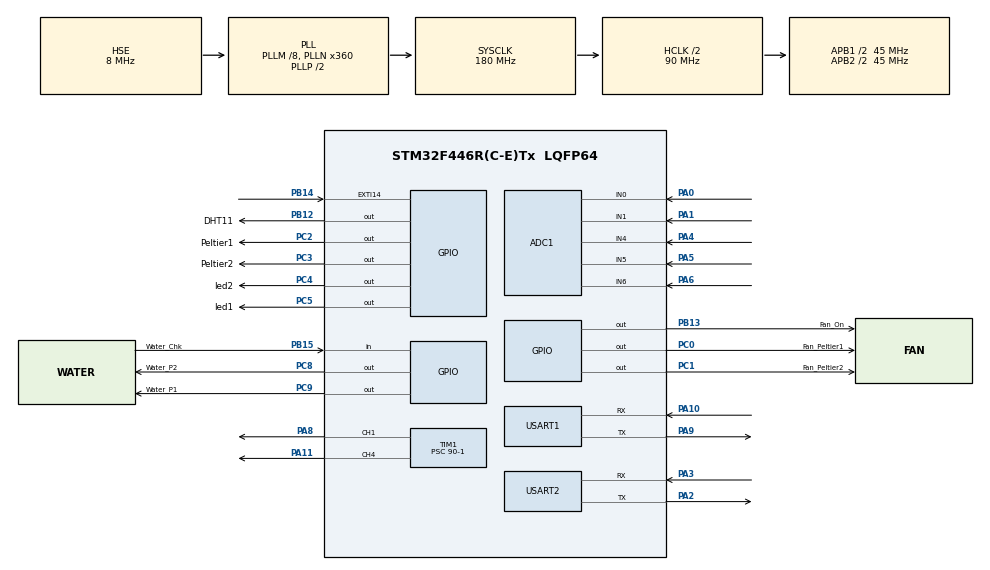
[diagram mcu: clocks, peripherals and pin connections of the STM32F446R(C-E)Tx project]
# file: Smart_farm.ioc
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ADC1.Channel-10\#ChannelRegularConversion=ADC_CHANNEL_0
ADC1.NbrOfConversion=1
ADC1.NbrOfConversionFlag=1
ADC1.Rank-10\#ChannelRegularConversion=1
ADC1.SamplingTime-10\#ChannelRegularConversion=ADC_SAMPLETIME_3CYCLES
ADC1.master=1
Mcu.Family=STM32F4
Mcu.Name=STM32F446R(C-E)Tx
Mcu.Package=LQFP64
NVIC.PriorityGroup=NVIC_PRIORITYGROUP_4
NVIC.TIM8_TRG_COM_TIM14_IRQn=true\:15\:0\:false\:false\:true\:false\:true\:true
NVIC.TimeBase=TIM8_TRG_COM_TIM14_IRQn
NVIC.TimeBaseIP=TIM14
PA0-WKUP.Signal=ADCx_IN0
PA1.Signal=ADCx_IN1
PA10.Mode=Asynchronous
PA10.Signal=USART1_RX
PA11.GPIO_Speed=GPIO_SPEED_FREQ_HIGH
PA11.Signal=S_TIM1_CH4
PA13.Mode=Serial_Wire
PA13.Signal=SYS_JTMS-SWDIO
PA14.Mode=Serial_Wire
PA14.Signal=SYS_JTCK-SWCLK
PA2.Mode=Asynchronous
PA2.Signal=USART2_TX
PA3.Mode=Asynchronous
PA3.Signal=USART2_RX
PA4.Signal=ADCx_IN4
PA5.Signal=ADCx_IN5
PA6.Signal=ADCx_IN6
PA8.GPIO_Speed=GPIO_SPEED_FREQ_HIGH
PA8.Signal=S_TIM1_CH1
PA9.Mode=Asynchronous
PA9.Signal=USART1_TX
PB12.GPIO_Label=DHT11
PB12.GPIO_Speed=GPIO_SPEED_FREQ_VERY_HIGH
PB12.Signal=GPIO_Output
PB13.GPIO_Label=Fan_On
PB13.GPIO_ModeDefaultOutputPP=GPIO_MODE_OUTPUT_PP
PB13.GPIO_Speed=GPIO_SPEED_FREQ_HIGH
PB13.Signal=GPIO_Output
PB14.Signal=GPXTI14
PB15.GPIO_Label=Water_Chk
PB15.Signal=GPIO_Input
PC0.GPIO_Label=Fan_Peltier1
PC0.Signal=GPIO_Output
PC1.GPIO_Label=Fan_Peltier2
PC1.Signal=GPIO_Output
PC14-OSC32_IN.Mode=LSE-External-Oscillator
PC14-OSC32_IN.Signal=RCC_OSC32_IN
PC15-OSC32_OUT.Mode=LSE-External-Oscillator
PC15-OSC32_OUT.Signal=RCC_OSC32_OUT
PC2.GPIO_Label=Peltier1
PC2.Signal=GPIO_Output
PC3.GPIO_Label=Peltier2
PC3.Signal=GPIO_Output
PC4.GPIO_Label=led2
PC4.GPIO_Speed=GPIO_SPEED_FREQ_HIGH
PC4.Signal=GPIO_Output
PC5.GPIO_Label=led1
PC5.GPIO_ModeDefaultOutputPP=GPIO_MODE_OUTPUT_PP
PC5.GPIO_Speed=GPIO_SPEED_FREQ_HIGH
PC5.PinState=GPIO_PIN_RESET
PC5.Signal=GPIO_Output
PC8.GPIO_Label=Water_P2
PC8.GPIO_Speed=GPIO_SPEED_FREQ_HIGH
PC8.Signal=GPIO_Output
PC9.GPIO_Label=Water_P1
PC9.GPIO_Speed=GPIO_SPEED_FREQ_HIGH
PC9.Signal=GPIO_Output
PH0-OSC_IN.Mode=HSE-External-Oscillator
PH0-OSC_IN.Signal=RCC_OSC_IN
PH1-OSC_OUT.Mode=HSE-External-Oscillator
PH1-OSC_OUT.Signal=RCC_OSC_OUT
ProjectManager.HeapSize=0x200
ProjectManager.StackSize=0x400
ProjectManager.TargetToolchain=STM32CubeIDE
RCC.AHBCLKDivider=RCC_SYSCLK_DIV2
RCC.AHBFreq_Value=90000000
RCC.APB1CLKDivider=RCC_HCLK_DIV2
RCC.APB1Freq_Value=45000000
RCC.APB1TimFreq_Value=90000000
RCC.APB2CLKDivider=RCC_HCLK_DIV2
RCC.APB2Freq_Value=45000000
RCC.APB2TimFreq_Value=90000000
RCC.CortexFreq_Value=90000000
RCC.HCLKFreq_Value=90000000
RCC.HSE_VALUE=8000000
RCC.PLLM=8
RCC.PLLN=360
RCC.PLLSourceVirtual=RCC_PLLSOURCE_HSE
RCC.SYSCLKFreq_VALUE=180000000
RCC.SYSCLKSource=RCC_SYSCLKSOURCE_PLLCLK
RCC.USBFreq_Value=180000000
RCC.VCOOutputFreq_Value=360000000
SH.ADCx_IN0.0=ADC1_IN0,IN0
SH.ADCx_IN1.0=ADC1_IN1,IN1
SH.ADCx_IN4.0=ADC1_IN4,IN4
SH.ADCx_IN5.0=ADC1_IN5,IN5
SH.ADCx_IN6.0=ADC1_IN6,IN6
SH.S_TIM1_CH1.0=TIM1_CH1,PWM Generation1 CH1
SH.S_TIM1_CH4.0=TIM1_CH4,PWM Generation4 CH4
TIM1.Channel-PWM\ Generation1\ CH1=TIM_CHANNEL_1
TIM1.Channel-PWM\ Generation4\ CH4=TIM_CHANNEL_4
TIM1.Period=60000-1
TIM1.Prescaler=90-1
TIM2.AutoReloadPreload=TIM_AUTORELOAD_PRELOAD_ENABLE
TIM2.Period=1000-1
TIM2.Prescaler=9000-1
TIM3.Period=45000-1
TIM3.Prescaler=60000-1
TIM6.Period=65535-1
TIM6.Prescaler=90-1
USART1.VirtualMode=VM_ASYNC
USART2.VirtualMode=VM_ASYNC
VP_SYS_VS_tim14.Mode=TIM14
VP_TIM1_VS_ClockSourceINT.Mode=Internal
VP_TIM2_VS_ClockSourceINT.Mode=Internal
VP_TIM3_VS_ClockSourceINT.Mode=Internal
VP_TIM6_VS_ClockSourceINT.Mode=Enable_Timer
board=custom

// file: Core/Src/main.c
/* USER CODE BEGIN Header */
/**
  ******************************************************************************
  * @file           : main.c
  * @brief          : Main program body
  ******************************************************************************
  * @attention
  *
  * Copyright (c) 2025 STMicroelectronics.
  * All rights reserved.
  *
  * This software is licensed under terms that can be found in the LICENSE file
  * in the root directory of this software component.
  * If no LICENSE file comes with this software, it is provided AS-IS.
  *
  ******************************************************************************
  */
/* USER CODE END Header */
#include "main.h"
#include "adc.h"
#include "tim.h"
#include "usart.h"
#include "gpio.h"

/* USER CODE BEGIN Includes */
#include <stdio.h>
#include <stdlib.h>
#include <string.h>

#define printf_en 1
#define USART_Ch_1_EN	3
#define Console_Ch2   2
#define dht11_en 3
#define Ch1	1
#define cds_en	2
#define co2_en	3
#define w_height_en	4
#define servo_en 5
#define water_pump_en 	6
#define fan_en 6
#define light_en 6
#define pelt_en 6
#include "my_library.h"

#define Out_Bit(port, pin, out_data_bits) HAL_GPIO_WritePin(port, pin, out_data_bits)

#include "MCP2515.h"
#include "CANSPI.h"
/* USER CODE END Includes */

/* USER CODE BEGIN PTD */
char Test_Msg[16];
char pass_sig[] = "Pass\r\n";
char msg_to_Rpi[64];
char Cmd_Msg[16];
extern int Cmd_values[5];
uint8_t Sensor_flag = 0;
uint8_t act_flag =0;

//struct Flags{
//	uint8_t start_flag;
//	uint8_t sensor_flag;
//}flags = {0,0};
//struct Flags *flag = &flags;

struct Sensor_Value{
	  float TEMP;		// 온도
	  float RH;			// 습도
	  float lux ;				// 밝기
	  float co2 ;				// c02 ppm
	  float w_1;		// 둘 중 하나
}sen_val = {0.0, 0.0, 0.0, 0.0, 0.0};
struct Sensor_Value *sen_v = &sen_val;

#include "main.h"
#include "stdio.h"

extern ADC_HandleTypeDef hadc1;

void set_motor_speed(uint8_t duty_percent)
{
  if(duty_percent > 100) duty_percent = 100;

  uint32_t pwm_period = __HAL_TIM_GET_AUTORELOAD(&htim1); // Period 값 읽기
  uint32_t compare_value = (pwm_period + 1) * duty_percent / 100;

  __HAL_TIM_SET_COMPARE(&htim1, TIM_CHANNEL_1, compare_value);
}
void HAL_TIM_MspPostInit(TIM_HandleTypeDef *htim);
/* USER CODE END PTD */

void SystemClock_Config(void);

int main(void)
{

  /* MCU Configuration--------------------------------------------------------*/

  /* Reset of all peripherals, Initializes the Flash interface and the Systick. */
  HAL_Init();

  /* Configure the system clock */
  SystemClock_Config();

  /* Initialize all configured peripherals */
  MX_GPIO_Init();
  MX_TIM6_Init();
  MX_USART1_UART_Init();
  MX_USART2_UART_Init();
  MX_ADC1_Init();
  MX_TIM1_Init();
  MX_TIM2_Init();
  MX_TIM3_Init();
  /* USER CODE BEGIN 2 */
  HAL_TIM_Base_Start(&htim6);
  HAL_TIM_Base_Start(&htim1);
  HAL_ADC_Start(&hadc1);
  HAL_ADC_PollForConversion(&hadc1, HAL_MAX_DELAY);
  //HAL_TIM_PWM_Start(&htim1, TIM_CHANNEL_3);

  HAL_TIM_PWM_Start(&htim1, TIM_CHANNEL_1);
  HAL_TIM_PWM_Start(&htim1, TIM_CHANNEL_4);
  HAL_TIM_Base_Start_IT(&htim2);

//  printf("Warming up RX-9 Sensor    \r\n");
//  HAL_Delay(180000);

  /* USER CODE END 2 */

  /* Infinite loop */
  /* USER CODE BEGIN WHILE */
  while (1)
  {
	  Peltier_Cooling();
	  HAL_Delay(60000);
	  Peltier_Heating();
	  HAL_Delay(60000);

//
//	  //receive start data	= STM32 Test Mode\n
//
//	  if( Sensor_flag == 0)
//	  {
//		  printf("Waiting Rpi Test Mode Msg\r\n");
//		  if(HAL_UART_Receive(&huart1, (uint8_t *)Test_Msg, 16, 1000)== HAL_OK)
//		  {
//			  Test_Msg[15] = '\0'; // 강제로 문자열 종료
//			  if (strcmp(Test_Msg, "STM32 Test Mode") == 0)
//			  {
//				  if(DHT11_Sensor_Test()&&check_light())
//				  {
//					  Sensor_flag = 1;
//					  printf("Sensor Check Complete\r\n");
//					  HAL_UART_Transmit(&huart1, (uint8_t*)pass_sig, strlen(pass_sig), 10);
//
//				  }
//			  }
//		  }
//	  }
//	  else
//	  {
//		  //물 순환 시작
//		  //인터럽트로 1분마다 읽게 만들거
//		  float TEMP = DHT11_Run_TEMP();		// 온도
//		  float RH = DHT11_Run_RH();			// 습도
//		  float lux = read_light();				// 밝기
//		  float co2 = read_co2();				// c02 ppm
//	  	  float w_1 = isWaterDetected1();		// 둘 중 하나 -> 타이머 인터럽트
//
//	  	  act_flag = 0;
//
//		  // 보내야할 값 4개
//		  // 둘 중 하나 사용
//		  printf("TEMP : %.1f RH : %.1f co2 : %.1f lux : %.1f\r\n", TEMP, RH, co2, lux);
//
//		  //tim 인터럽트로 인해 flag ==1로 만들어서 값 보내기
//		  if(TEMP){
//			  // co2,w_height level 반환 대신 그냥 adc값 반환하도록 변경해야됨
//			  // 둘 중 하나 사용
//			  sprintf(msg_to_Rpi, "%.1f,%.1f,%.1f,%.1f\r\n", TEMP, RH,co2,lux);
//			  HAL_UART_Transmit(&huart1, (char *)msg_to_Rpi, strlen(msg_to_Rpi), 10);
//		  }
//		  	  // 제어 신호 받으면?????
//		  if(HAL_UART_Receive(&huart1, (uint8_t *)Cmd_Msg, 8, 1000)== HAL_OK)
//		  {
//			  //제어 명령어 -  팬+팰티어, led. 팬, 모터 센서(급수)
//			  printf("Received data\r\n");
//			  printf("Cmd_Msg = %s",Cmd_Msg);
//			  Cmd_Msg[9] = '\0'; // 강제로 문자열 종료
//			  parse_fixed_csv(Cmd_Msg);
//			  for (int i = 0; i < 4; i++)
//			  {
//				  printf("Cmd_values[%d] = %d\r\n", i, Cmd_values[i]);  // 문제 잡기 물 센서 위치에 따라
//			  }
//	  	  	  process_commands(Cmd_values);
//
//		  }
//	  }
//	  HAL_Delay(5000);

  }

    /* USER CODE END WHILE */

}

void SystemClock_Config(void)
{
  RCC_OscInitTypeDef RCC_OscInitStruct = {0};
  RCC_ClkInitTypeDef RCC_ClkInitStruct = {0};

  /** Configure the main internal regulator output voltage
  */
  __HAL_RCC_PWR_CLK_ENABLE();
  __HAL_PWR_VOLTAGESCALING_CONFIG(PWR_REGULATOR_VOLTAGE_SCALE3);

  /** Initializes the RCC Oscillators according to the specified parameters
  * in the RCC_OscInitTypeDef structure.
  */
  RCC_OscInitStruct.OscillatorType = RCC_OSCILLATORTYPE_HSE;
  RCC_OscInitStruct.HSEState = RCC_HSE_ON;
  RCC_OscInitStruct.PLL.PLLState = RCC_PLL_ON;
  RCC_OscInitStruct.PLL.PLLSource = RCC_PLLSOURCE_HSE;
  RCC_OscInitStruct.PLL.PLLM = 8;
  RCC_OscInitStruct.PLL.PLLN = 360;
  RCC_OscInitStruct.PLL.PLLP = RCC_PLLP_DIV2;
  RCC_OscInitStruct.PLL.PLLQ = 2;
  RCC_OscInitStruct.PLL.PLLR = 2;
  if (HAL_RCC_OscConfig(&RCC_OscInitStruct) != HAL_OK)
  {
    Error_Handler();
  }

  /** Initializes the CPU, AHB and APB buses clocks
  */
  RCC_ClkInitStruct.ClockType = RCC_CLOCKTYPE_HCLK|RCC_CLOCKTYPE_SYSCLK
                              |RCC_CLOCKTYPE_PCLK1|RCC_CLOCKTYPE_PCLK2;
  RCC_ClkInitStruct.SYSCLKSource = RCC_SYSCLKSOURCE_PLLCLK;
  RCC_ClkInitStruct.AHBCLKDivider = RCC_SYSCLK_DIV2;
  RCC_ClkInitStruct.APB1CLKDivider = RCC_HCLK_DIV2;
  RCC_ClkInitStruct.APB2CLKDivider = RCC_HCLK_DIV2;

  if (HAL_RCC_ClockConfig(&RCC_ClkInitStruct, FLASH_LATENCY_2) != HAL_OK)
  {
    Error_Handler();
  }
}

void HAL_TIM_PeriodElapsedCallback(TIM_HandleTypeDef *htim)
{
  if (htim->Instance == TIM14)
  {
    HAL_IncTick();
  }
}

void Error_Handler(void)
{
  __disable_irq();
  while (1)
  {
  }
}
